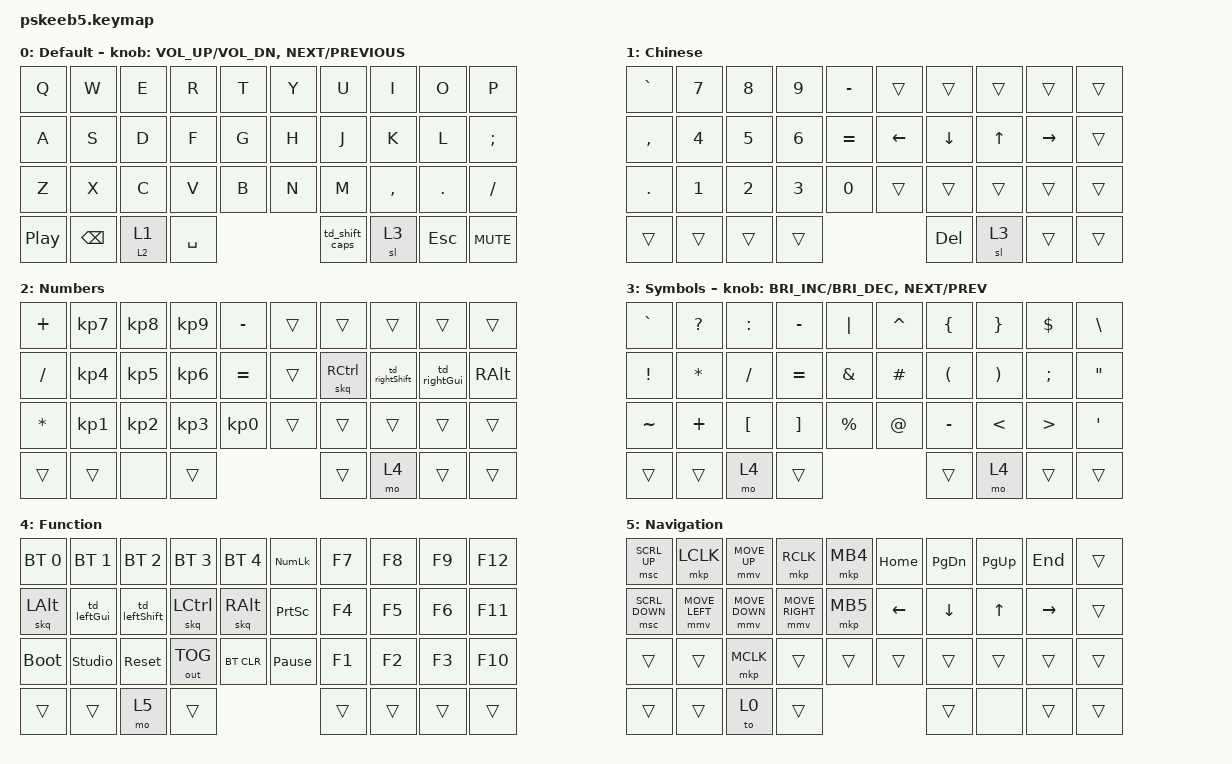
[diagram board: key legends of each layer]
#include <behaviors.dtsi>
#include <dt-bindings/zmk/bt.h>
#include <dt-bindings/zmk/keys.h>
#include <dt-bindings/zmk/outputs.h>
#include <dt-bindings/zmk/pointing.h>

#define DEFAULT 0
#define ZH_CN   1
#define NUM1    2
#define SYM     3
#define FUNC    4
#define NAV     5

// #define SYM     2
// #define MEDIA   4
// #define MOUSE   5
// #define WINNAV  6

&caps_word { continue-list = <UNDERSCORE MINUS BACKSPACE DELETE>; };

/ {
    combos {
        compatible = "zmk,combos";

        combo_enter {
            bindings = <&kp ENTER>;
            key-positions = <13 12>;
            layers = <0 1 2>;
            timeout-ms = <50>;
            require-prior-idle-ms = <50>;
        };

        combo_tab {
            bindings = <&kp TAB>;
            key-positions = <1 0>;
            timeout-ms = <50>;
            layers = <0 1 2>;
            require-prior-idle-ms = <50>;
        };

        combo_nav_layer {
            bindings = <&to 5>;
            key-positions = <36 35>;
            timeout-ms = <50>;
        };
    };
};

/ {
    behaviors {
        hm: homerow_mods {
            compatible = "zmk,behavior-hold-tap";
            label = "HOMEROW_MODS";
            #binding-cells = <2>;
            tapping-term-ms = <200>;
            quick_tap_ms = <0>;
            flavor = "balanced";
            bindings = <&kp>, <&kp>;
        };

        hs: homerow_shift {
            compatible = "zmk,behavior-hold-tap";
            label = "HOMEROW_SHIFT";
            #binding-cells = <2>;
            tapping-term-ms = <175>;
            quick_tap_ms = <0>;
            flavor = "balanced";
            bindings = <&kp>, <&kp>;
        };

        pht: positional_hold_tap {
            compatible = "zmk,behavior-hold-tap";
            label = "POSITIONAL_HOLD_TAP";
            #binding-cells = <2>;
            flavor = "hold-preferred";
            tapping-term-ms = <400>;
            quick-tap-ms = <200>;
            bindings = <&kp>, <&kp>;

            hold-trigger-key-positions = <1>;    // <---[[the W key]]
        };

        skq: sticky_key_quick_release {
            compatible = "zmk,behavior-sticky-key";
            label = "STICKY_KEY_QUICK_RELEASE";
            #binding-cells = <1>;
            bindings = <&kp>;
            release-after-ms = <1000>;
            quick-release;
            lazy;
            ignore-modifiers;
        };

        sk_q: sticky_key_gui {
            compatible = "zmk,behavior-sticky-key";
            label = "STICKY_KEY_GUI";
            #binding-cells = <1>;
            bindings = <&kp>;
            release-after-ms = <1000>;
            lazy;
            ignore-modifiers;
        };

        td_leftShift: tap_dance_left_shift {
            compatible = "zmk,behavior-tap-dance";
            label = "TD_LSHIFT";
            #binding-cells = <0>;
            tapping-term-ms = <200>;
            bindings = <&skq LSHIFT>, <&kp LSHIFT>;
        };

        td_rightShift: tap_dance_right_shift {
            compatible = "zmk,behavior-tap-dance";
            label = "TD_RSHIFT";
            #binding-cells = <0>;
            tapping-term-ms = <200>;
            bindings = <&skq RSHIFT>, <&kp RSHIFT>;
        };

        td_leftGui: tap_dance_left_gui {
            compatible = "zmk,behavior-tap-dance";
            label = "TD_LGUI";
            #binding-cells = <0>;
            tapping-term-ms = <200>;
            bindings = <&sk_q LWIN>, <&kp LWIN>;
        };

        td_rightGui: tap_dance_right_gui {
            compatible = "zmk,behavior-tap-dance";
            label = "TD_RGUI";
            #binding-cells = <0>;
            tapping-term-ms = <200>;
            bindings = <&sk_q RWIN>, <&kp RWIN>;
        };

        td_shift_caps: td_shift_capsword {
            compatible = "zmk,behavior-tap-dance";
            label = "TD_SHIFT_CAPSWORD";
            #binding-cells = <0>;
            tapping-term-ms = <200>;
            bindings = <&kp RSHIFT>, <&caps_word>;
        };

        mtl: momentary_toggle_layer {
            compatible = "zmk,behavior-hold-tap";
            label = "HOLD_MO_TAP_TOG";
            #binding-cells = <2>;
            flavor = "tap-preferred";
            tapping-term-ms = <200>;
            bindings = <&mo>, <&tog>;
        };
    };

    keymap {
        compatible = "zmk,keymap";

        default_layer {
            label = "Default";
            bindings = <
&kp Q             &kp W          &kp E     &kp R      &kp T  &kp Y  &kp U           &kp I      &kp O       &kp P
&kp A             &kp S          &kp D     &kp F      &kp G  &kp H  &kp J           &kp K      &kp L       &kp SEMICOLON
&kp Z             &kp X          &kp C     &kp V      &kp B  &kp N  &kp M           &kp COMMA  &kp DOT     &kp FSLH
&kp C_PLAY_PAUSE  &kp BACKSPACE  &mtl 2 1  &kp SPACE                &td_shift_caps  &sl 3      &kp ESCAPE  &kp C_MUTE
            >;

            sensor-bindings =
                <&inc_dec_kp C_VOL_UP C_VOL_DN>,
                <&inc_dec_kp C_NEXT C_PREVIOUS>;
        };

        chinese_layer {
            label = "Chinese";
            bindings = <
&kp GRAVE   &kp NUMBER_7  &kp NUMBER_8  &kp NUMBER_9  &kp MINUS     &trans    &trans      &trans        &trans     &trans
&kp COMMA   &kp NUMBER_4  &kp NUMBER_5  &kp NUMBER_6  &kp EQUAL     &kp LEFT  &kp DOWN    &kp UP_ARROW  &kp RIGHT  &trans
&kp PERIOD  &kp NUMBER_1  &kp NUMBER_2  &kp NUMBER_3  &kp NUMBER_0  &trans    &trans      &trans        &trans     &trans
&trans      &trans        &trans        &trans                                &kp DELETE  &sl 3         &trans     &trans
            >;
        };

        num_layer {
            bindings = <
&kp PLUS      &kp KP_NUMBER_7  &kp KP_NUMBER_8  &kp KP_NUMBER_9  &kp MINUS        &trans  &trans      &trans          &trans        &trans
&kp SLASH     &kp KP_NUMBER_4  &kp KP_NUMBER_5  &kp KP_NUMBER_6  &kp EQUAL        &trans  &skq RCTRL  &td_rightShift  &td_rightGui  &kp RIGHT_ALT
&kp ASTERISK  &kp KP_NUMBER_1  &kp KP_NUMBER_2  &kp KP_NUMBER_3  &kp KP_NUMBER_0  &trans  &trans      &trans          &trans        &trans
&trans        &trans           &none            &trans                                    &trans      &mo 4           &trans        &trans
            >;

            label = "Numbers";
        };

        symbol_layer {
            label = "Symbols";
            bindings = <
&kp GRAVE        &kp QUESTION  &kp COLON         &kp MINUS          &kp PIPE       &kp CARET    &kp LEFT_BRACE        &kp RIGHT_BRACE        &kp DOLLAR        &kp BACKSLASH
&kp EXCLAMATION  &kp ASTERISK  &kp SLASH         &kp EQUAL          &kp AMPERSAND  &kp HASH     &kp LEFT_PARENTHESIS  &kp RIGHT_PARENTHESIS  &kp SEMICOLON     &kp DOUBLE_QUOTES
&kp TILDE        &kp PLUS      &kp LEFT_BRACKET  &kp RIGHT_BRACKET  &kp PERCENT    &kp AT_SIGN  &kp MINUS             &kp LESS_THAN          &kp GREATER_THAN  &kp SINGLE_QUOTE
&trans           &trans        &mo 4             &trans                                         &trans                &mo 4                  &trans            &trans
            >;

            sensor-bindings =
                <&inc_dec_kp C_BRIGHTNESS_INC C_BRIGHTNESS_DEC>,
                <&inc_dec_kp C_NEXT K_PREV>;
        };

        function_layer {
            bindings = <
&bt BT_SEL 0   &bt BT_SEL 1    &bt BT_SEL 2   &bt BT_SEL 3  &bt BT_SEL 4    &kp KP_NUMLOCK   &kp F7  &kp F8  &kp F9  &kp F12
&skq LEFT_ALT  &td_leftGui     &td_leftShift  &skq LCTRL    &skq RIGHT_ALT  &kp PRINTSCREEN  &kp F4  &kp F5  &kp F6  &kp F11
&bootloader    &studio_unlock  &sys_reset     &out OUT_TOG  &bt BT_CLR      &kp PAUSE_BREAK  &kp F1  &kp F2  &kp F3  &kp F10
&trans         &trans          &mo 5          &trans                                         &trans  &trans  &trans  &trans
            >;

            label = "Function";
        };

        nav_layer {
            bindings = <
&msc SCRL_UP    &mkp LCLK       &mmv MOVE_UP    &mkp RCLK        &mkp MB4  &kp HOME  &kp PAGE_DOWN  &kp PAGE_UP   &kp END    &trans
&msc SCRL_DOWN  &mmv MOVE_LEFT  &mmv MOVE_DOWN  &mmv MOVE_RIGHT  &mkp MB5  &kp LEFT  &kp DOWN       &kp UP_ARROW  &kp RIGHT  &trans
&trans          &trans          &mkp MCLK       &trans           &trans    &trans    &trans         &trans        &trans     &trans
&trans          &trans          &to 0           &trans                               &trans         &none         &trans     &trans
            >;

            label = "Navigation";
        };
    };
};
